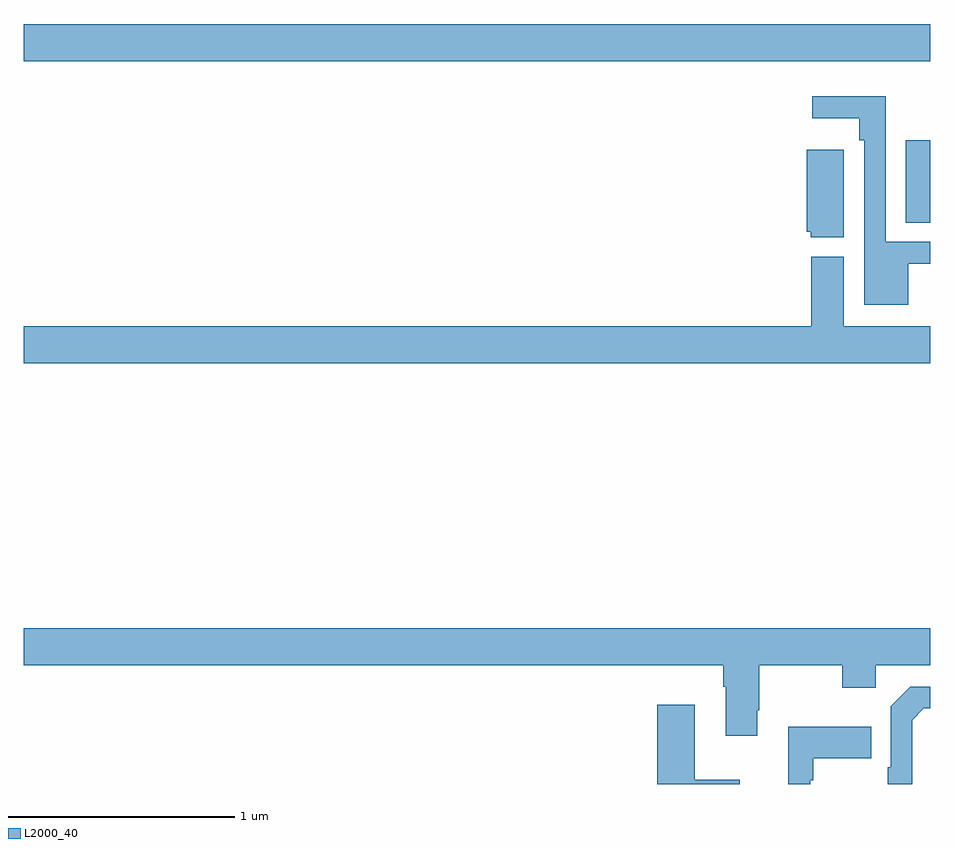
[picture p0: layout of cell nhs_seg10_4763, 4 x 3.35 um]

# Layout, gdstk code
import gdstk
lib = gdstk.Library(unit=1e-6, precision=1e-09)
def R(c, l, rs):  # rectangles x0, y0, x1, y1
    for r in rs: c.add(gdstk.rectangle(r[:2], r[2:], *l))
def P(c, l, *ps):  # polygons
    for p in ps: c.add(gdstk.Polygon(p, *l))
L2000_40 = (2000, 40)

nhs_seg10_4763 = lib.new_cell('nhs_seg10_4763')
R(nhs_seg10_4763, L2000_40, [(388.892,1260.976,389,1261.339), (385,1261.688,389,1261.852)])
P(nhs_seg10_4763, L2000_40, [(388.903,1260.795),(389,1260.795),(389,1260.891),(388.803,1260.891),(388.803,1261.534),(388.479,1261.534),(388.479,1261.436),(388.687,1261.436),(388.687,1261.34),(388.707,1261.34),(388.707,1260.614),(388.903,1260.614)],
  [(388.618,1261.297),(388.454,1261.297),(388.454,1260.936),(388.473,1260.936),(388.473,1260.911),(388.618,1260.911)],
  [(389,1260.52),(388.618,1260.52),(388.618,1260.826),(388.475,1260.826),(388.475,1260.52),(385,1260.52),(385,1260.356),(389,1260.356)],
  [(388.237,1258.825),(388.245,1258.825),(388.245,1259.024),(388.612,1259.024),(388.612,1258.925),(388.758,1258.925),(388.758,1259.024),(389,1259.024),(389,1259.188),(385,1259.188),(385,1259.024),(388.085,1259.024),(388.085,1258.928),(388.097,1258.928),(388.097,1258.713),(388.237,1258.713)],
  [(388.92,1258.782),(388.971,1258.833),(389,1258.833),(389,1258.929),(388.911,1258.929),(388.824,1258.842),(388.824,1258.573),(388.812,1258.573),(388.812,1258.5),(388.92,1258.5)],
  [(388.159,1258.519),(387.961,1258.519),(387.961,1258.849),(387.794,1258.849),(387.794,1258.5),(388.159,1258.5)],
  [(388.47,1258.517),(388.483,1258.517),(388.483,1258.613),(388.739,1258.613),(388.739,1258.753),(388.373,1258.753),(388.373,1258.5),(388.47,1258.5)])

lib.write_gds('nhs_seg10_4763.gds')
